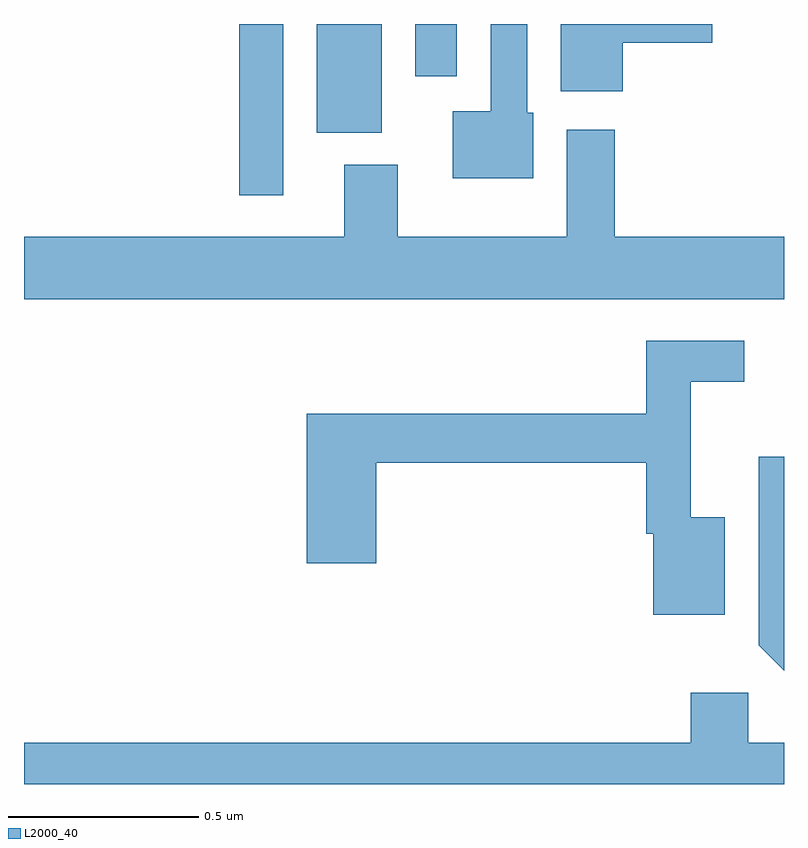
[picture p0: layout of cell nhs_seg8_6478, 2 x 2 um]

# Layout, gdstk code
import gdstk
lib = gdstk.Library(unit=1e-6, precision=1e-09)
def R(c, l, rs):  # rectangles x0, y0, x1, y1
    for r in rs: c.add(gdstk.rectangle(r[:2], r[2:], *l))
def P(c, l, *ps):  # polygons
    for p in ps: c.add(gdstk.Polygon(p, *l))
L2000_40 = (2000, 40)

nhs_seg8_6478 = lib.new_cell('nhs_seg8_6478')
R(nhs_seg8_6478, L2000_40, [(197.566,1107.45,197.682,1107.9), (197.771,1107.614,197.941,1107.9), (198.029,1107.762,198.139,1107.9)])
P(nhs_seg8_6478, L2000_40, [(198.34,1107.666),(198.324,1107.666),(198.324,1107.9),(198.228,1107.9),(198.228,1107.67),(198.128,1107.67),(198.128,1107.494),(198.34,1107.494)],
  [(198.575,1107.851),(198.811,1107.851),(198.811,1107.9),(198.413,1107.9),(198.413,1107.723),(198.575,1107.723)],
  [(199,1107.34),(198.554,1107.34),(198.554,1107.622),(198.428,1107.622),(198.428,1107.34),(197.983,1107.34),(197.983,1107.529),(197.843,1107.529),(197.843,1107.34),(197,1107.34),(197,1107.176),(199,1107.176)],
  [(198.844,1106.602),(198.755,1106.602),(198.755,1106.958),(198.895,1106.958),(198.895,1107.066),(198.637,1107.066),(198.637,1106.875),(197.744,1106.875),(197.744,1106.481),(197.927,1106.481),(197.927,1106.746),(198.637,1106.746),(198.637,1106.559),(198.656,1106.559),(198.656,1106.345),(198.844,1106.345)],
  [(199,1106.761),(198.933,1106.761),(198.933,1106.265),(199,1106.198)],
  [(199,1106.008),(198.906,1106.008),(198.906,1106.14),(198.755,1106.14),(198.755,1106.008),(197,1106.008),(197,1105.9),(199,1105.9)])

lib.write_gds('nhs_seg8_6478.gds')
